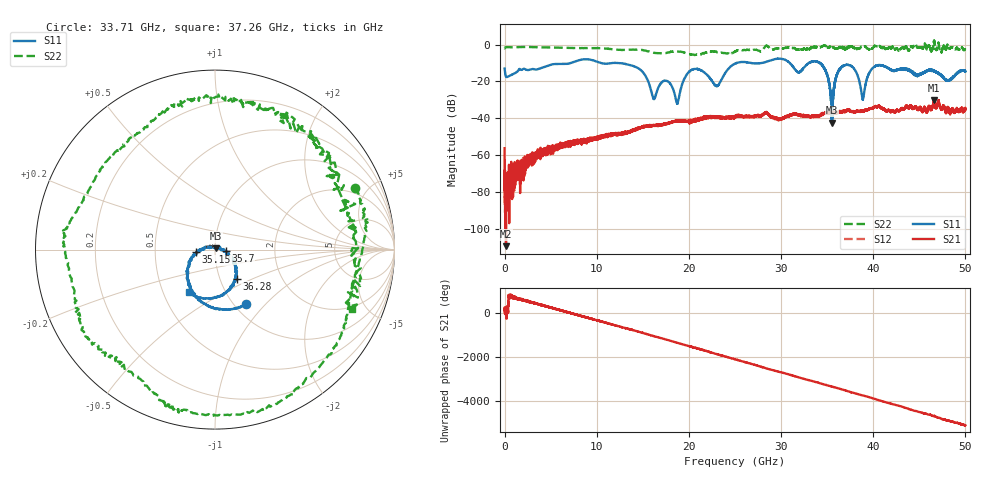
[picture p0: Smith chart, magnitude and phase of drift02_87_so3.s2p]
!Created with skrf (http://scikit-rf.org).
# Hz S RI R 50.0
!freq ReS11 ImS11 ReS21 ImS21 ReS12 ImS12 ReS22 ImS22
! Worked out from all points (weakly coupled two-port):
!   10001 points, 300 kHz to 50 GHz, reference 50 ohm
!   highest |S21| = -30.00 dB at 46.61 GHz (marker M1); lowest = -109.1 dB at 155.3 MHz (marker M2)
!   lowest |S11| = -42.4 dB at 35.54 GHz (marker M3), VSWR 1.02, Z = 50.3 + j0.691 ohm
!   |S11| at or under -10 dB: start of sweep to 7.179 GHz; 12.37 GHz to 25.16 GHz (12.79 GHz wide, 68.1 % of centre); 34.22 GHz to end of sweep (the widest 3 of 18)
!   |S22| runs from -5.7 to 2.2 dB; largest |S21 - S12| = 0.0039
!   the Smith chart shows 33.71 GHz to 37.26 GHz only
!   S11 on the Smith chart (normalised r, x): 33.71 GHz: 1.13, -0.78; 35.15 GHz: 0.81, -0.03; 35.7 GHz: 1.12, -0.01; 36.28 GHz: 1.20, -0.41; 37.26 GHz: 0.67, -0.35
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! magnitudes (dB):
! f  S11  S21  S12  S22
! 300 kHz  -13.0  -56.1  -68.5  -2.1
! 155.3 MHz  -17.4  -109.1  -76.3  -1.4
! 8.335 GHz  -8.2  -51.8  -52.3  -1.9
! 14.03 GHz  -11.8  -46.0  -46.3  -2.8
! 16.67 GHz  -23.5  -43.8  -43.9  -4.7
! 17.71 GHz  -20.0  -42.7  -42.5  -4.3
! 18.74 GHz  -32.0  -41.6  -41.7  -3.7
! 20.25 GHz  -13.9  -42.0  -40.8  -5.4
! 23.03 GHz  -22.5  -39.8  -39.8  -4.1
! 25 GHz  -10.4  -39.6  -38.8  -3.9
! 33.34 GHz  -9.3  -38.6  -38.6  -1.6
! 33.71 GHz  -9.1  -38.7  -38.5  -1.4
! 35.15 GHz  -19.5  -37.1  -37.2  -1.8
! 35.54 GHz  -42.4  -36.8  -36.8  -1.7
! 35.7 GHz  -24.6  -36.8  -36.7  -1.6
! 36.28 GHz  -13.9  -36.5  -36.6  -1.5
! 37.26 GHz  -11.1  -35.3  -35.8  -1.6
! 38.87 GHz  -29.8  -35.8  -36.0  -1.3
! 39.96 GHz  -12.6  -34.4  -34.5  -1.9
! 41.67 GHz  -12.9  -35.8  -35.5  -2.0
! 46.61 GHz  -14.2  -30.0  -30.1  2.2
! 50 GHz  -14.5  -35.3  -34.5  -2.6
